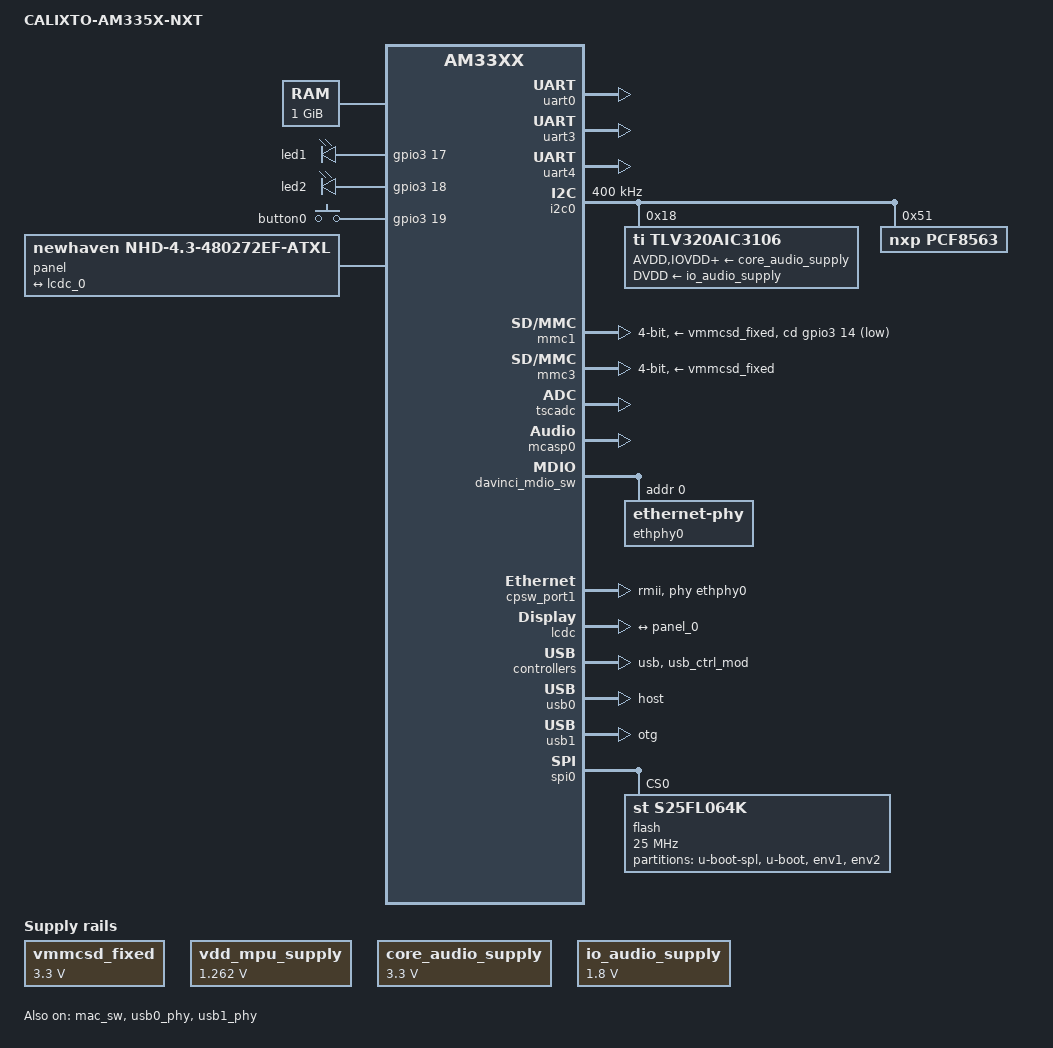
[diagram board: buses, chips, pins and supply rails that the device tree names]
/*
 * Copyright (C) 2023 Calixto Systems Pvt Ltd - https://www.calixtosystems.com/
 *
 * This program is free software; you can redistribute it and/or modify
 * it under the terms of the GNU General Public License version 2 as
 * published by the Free Software Foundation.
 */

/*
 * AM335x CALIXTO VERSA NXT SOM
 * https://www.calixtosystems.com/
 * Modified from am335x-evmsk
 * Modified by Vipin Vijayan <vipin.v@calixto.in>
 */

/dts-v1/;

#include "am33xx.dtsi"
#include <dt-bindings/pwm/pwm.h>
#include <dt-bindings/interrupt-controller/irq.h>

/ {
	model = "CALIXTO-AM335X-NXT";
	compatible = "ti,am335x-calixto-nxt", "ti,am33xx";

	cpus {
		cpu@0 {
			cpu0-supply = <&vdd_mpu_supply>;
		};
	};

	memory@80000000 {
		device_type = "memory";
		reg = <0x80000000 0x40000000>; /* 1024 MB */
	};
	
	aliases {
		serial0 = &uart0;
	};
	
	chosen {
		stdout-path = &uart0;
	};

	vmmcsd_fixed: fixedregulator1 {
                compatible = "regulator-fixed";
                regulator-name = "vmmcsd-regulator";
                regulator-min-microvolt = <3300000>;
                regulator-max-microvolt = <3300000>;
                enable-active-high;
                regulator-always-on;
        };

        vdd_mpu_supply: fixedregulator2 {
                compatible = "regulator-fixed";
                regulator-name = "vdd-mpu-regulator";
                regulator-min-microvolt = <1262000>;
                regulator-max-microvolt = <1262000>;
                regulator-boot-on;
                regulator-always-on;
        };

	core_audio_supply: fixedregulator-v3_3d  {
                compatible = "regulator-fixed";
                regulator-name = "v3_3d";
                regulator-min-microvolt = <3300000>;
                regulator-max-microvolt = <3300000>;
                regulator-boot-on;
        };

        io_audio_supply: fixedregulator-v1_8d  {
                compatible = "regulator-fixed";
                regulator-name = "v1_8d"; 
                regulator-min-microvolt = <1800000>;
                regulator-max-microvolt = <1800000>;
                regulator-boot-on;
        };

	leds {
		pinctrl-names = "default", "sleep";
		pinctrl-0 = <&user_leds_default>;
		pinctrl-1 = <&user_leds_sleep>;

		compatible = "gpio-leds";

		led1 {
			label = "led1";
			gpios = <&gpio3 17 GPIO_ACTIVE_HIGH>;
			linux,default-trigger = "heartbeat";
			default-state = "off";
		};

		led2 {
			label = "led2";
			gpios = <&gpio3 18 GPIO_ACTIVE_HIGH>;
			linux,default-trigger = "heartbeat";
			default-state = "off";
		};
	};
	
	
	gpio_buttons: gpio_buttons0 {
		compatible = "gpio-keys";
		pinctrl-names = "default";
		pinctrl-0 = <&gpio_keys_s0>;
		#address-cells = <1>;
		#size-cells = <0>;

		switch1 {
			label = "button0";
			linux,code = <0x100>;
			gpios = <&gpio3 19 GPIO_ACTIVE_HIGH>;
		};
	};
	
	panel {
		compatible = "newhaven,nhd-4.3-480272ef-atxl";

		pinctrl-names = "default", "sleep";
		pinctrl-0 = <&lcd_pins_default>;
		pinctrl-1 = <&lcd_pins_sleep>;
		port {
			panel_0: endpoint@0 {
				remote-endpoint = <&lcdc_0>;
			};
		};
	};
        
        sound {
		compatible = "simple-audio-card";
		simple-audio-card,name = "AM335x-EVM";
		simple-audio-card,widgets =
			"Headphone", "Headphone Jack",
			"Line", "Line In";
		simple-audio-card,routing =
			"Headphone Jack",	"HPLOUT",
			"Headphone Jack",	"HPROUT",
			"LINE1L",		"Line In",
			"LINE1R",		"Line In";
		simple-audio-card,format = "dsp_b";
		simple-audio-card,bitclock-master = <&sound_master>;
		simple-audio-card,frame-master = <&sound_master>;
		simple-audio-card,bitclock-inversion;

		simple-audio-card,cpu {
			sound-dai = <&mcasp0>;
		};

		sound_master: simple-audio-card,codec {
			sound-dai = <&tlv320aic3106>;
			system-clock-frequency = <12000000>;
		};
	};

};

&am33xx_pinmux {
	
	lcd_pins_default: lcd_pins_default {
                pinctrl-single,pins = <
                	AM33XX_PADCONF(AM335X_PIN_LCD_DATA0, PIN_OUTPUT, MUX_MODE0)
			AM33XX_PADCONF(AM335X_PIN_LCD_DATA1, PIN_OUTPUT, MUX_MODE0)
			AM33XX_PADCONF(AM335X_PIN_LCD_DATA2, PIN_OUTPUT, MUX_MODE0)
			AM33XX_PADCONF(AM335X_PIN_LCD_DATA3, PIN_OUTPUT, MUX_MODE0)
			AM33XX_PADCONF(AM335X_PIN_LCD_DATA4, PIN_OUTPUT, MUX_MODE0)
			AM33XX_PADCONF(AM335X_PIN_LCD_DATA5, PIN_OUTPUT, MUX_MODE0)
			AM33XX_PADCONF(AM335X_PIN_LCD_DATA6, PIN_OUTPUT, MUX_MODE0)
			AM33XX_PADCONF(AM335X_PIN_LCD_DATA7, PIN_OUTPUT, MUX_MODE0)
			AM33XX_PADCONF(AM335X_PIN_LCD_DATA8, PIN_OUTPUT, MUX_MODE0)
			AM33XX_PADCONF(AM335X_PIN_LCD_DATA9, PIN_OUTPUT, MUX_MODE0)
			AM33XX_PADCONF(AM335X_PIN_LCD_DATA10, PIN_OUTPUT, MUX_MODE0)
			AM33XX_PADCONF(AM335X_PIN_LCD_DATA11, PIN_OUTPUT, MUX_MODE0)
			AM33XX_PADCONF(AM335X_PIN_LCD_DATA12, PIN_OUTPUT, MUX_MODE0)
			AM33XX_PADCONF(AM335X_PIN_LCD_DATA13, PIN_OUTPUT, MUX_MODE0)
			AM33XX_PADCONF(AM335X_PIN_LCD_DATA14, PIN_OUTPUT, MUX_MODE0)
			AM33XX_PADCONF(AM335X_PIN_LCD_DATA15, PIN_OUTPUT, MUX_MODE0)
			AM33XX_PADCONF(AM335X_PIN_LCD_VSYNC, PIN_OUTPUT, MUX_MODE0)
			AM33XX_PADCONF(AM335X_PIN_LCD_HSYNC, PIN_OUTPUT, MUX_MODE0)
			AM33XX_PADCONF(AM335X_PIN_LCD_PCLK, PIN_OUTPUT, MUX_MODE0)
			AM33XX_PADCONF(AM335X_PIN_LCD_AC_BIAS_EN, PIN_OUTPUT, MUX_MODE0)
                >;
         };

	 lcd_pins_sleep: lcd_pins_sleep {
                pinctrl-single,pins = <
			AM33XX_PADCONF(AM335X_PIN_LCD_DATA0, PULL_DISABLE, MUX_MODE7)
			AM33XX_PADCONF(AM335X_PIN_LCD_DATA1, PULL_DISABLE, MUX_MODE7)
			AM33XX_PADCONF(AM335X_PIN_LCD_DATA2, PULL_DISABLE, MUX_MODE7)
			AM33XX_PADCONF(AM335X_PIN_LCD_DATA3, PULL_DISABLE, MUX_MODE7)
			AM33XX_PADCONF(AM335X_PIN_LCD_DATA4, PULL_DISABLE, MUX_MODE7)
			AM33XX_PADCONF(AM335X_PIN_LCD_DATA5, PULL_DISABLE, MUX_MODE7)
			AM33XX_PADCONF(AM335X_PIN_LCD_DATA6, PULL_DISABLE, MUX_MODE7)
			AM33XX_PADCONF(AM335X_PIN_LCD_DATA7, PULL_DISABLE, MUX_MODE7)
			AM33XX_PADCONF(AM335X_PIN_LCD_DATA8, PULL_DISABLE, MUX_MODE7)
			AM33XX_PADCONF(AM335X_PIN_LCD_DATA9, PULL_DISABLE, MUX_MODE7)
			AM33XX_PADCONF(AM335X_PIN_LCD_DATA10, PULL_DISABLE, MUX_MODE7)
			AM33XX_PADCONF(AM335X_PIN_LCD_DATA11, PULL_DISABLE, MUX_MODE7)
			AM33XX_PADCONF(AM335X_PIN_LCD_DATA12, PULL_DISABLE, MUX_MODE7)
			AM33XX_PADCONF(AM335X_PIN_LCD_DATA13, PULL_DISABLE, MUX_MODE7)
			AM33XX_PADCONF(AM335X_PIN_LCD_DATA14, PULL_DISABLE, MUX_MODE7)
			AM33XX_PADCONF(AM335X_PIN_LCD_DATA15, PULL_DISABLE, MUX_MODE7)
			AM33XX_PADCONF(AM335X_PIN_LCD_VSYNC, PIN_INPUT_PULLDOWN, MUX_MODE7)
			AM33XX_PADCONF(AM335X_PIN_LCD_HSYNC, PIN_INPUT_PULLDOWN, MUX_MODE7)
			AM33XX_PADCONF(AM335X_PIN_LCD_PCLK, PIN_INPUT_PULLDOWN, MUX_MODE7)
			AM33XX_PADCONF(AM335X_PIN_LCD_AC_BIAS_EN, PIN_INPUT_PULLDOWN, MUX_MODE7)
                >;
        };

	user_leds_default: user_leds_default {
		pinctrl-single,pins = <
			AM33XX_PADCONF(AM335X_PIN_MCASP0_AHCLKR, PIN_OUTPUT_PULLDOWN, MUX_MODE7 ) /* mcasp0_ahclkr.gpio3_17 */
			AM33XX_PADCONF(AM335X_PIN_MCASP0_ACLKR, PIN_OUTPUT_PULLDOWN, MUX_MODE7 )  /* mcasp0_aclkr.gpio3_18 */
		>;
	};

	user_leds_sleep: user_leds_sleep {
		pinctrl-single,pins = <
			AM33XX_PADCONF(AM335X_PIN_MCASP0_AHCLKR, PIN_INPUT_PULLDOWN, MUX_MODE7 ) /* mcasp0_ahclkr.gpio3_17 */
			AM33XX_PADCONF(AM335X_PIN_MCASP0_ACLKR, PIN_INPUT_PULLDOWN, MUX_MODE7 )  /* mcasp0_aclkr.gpio3_18 */
		>;
	};

	gpio_keys_s0: gpio_keys_s0 {
		pinctrl-single,pins = <
			AM33XX_PADCONF(AM335X_PIN_MCASP0_FSR, PIN_INPUT_PULLDOWN, MUX_MODE7 ) /* mcasp0_fsr.gpio3_19 */
		>;
	};

	uart0_pins: pinmux_uart0_pins {
		pinctrl-single,pins = <
			AM33XX_PADCONF(AM335X_PIN_UART0_RXD, PIN_INPUT_PULLUP, MUX_MODE0)	/* uart0_rxd.uart0_rxd */
			AM33XX_PADCONF(AM335X_PIN_UART0_TXD, PIN_OUTPUT_PULLDOWN, MUX_MODE0)	/* uart0_txd.uart0_txd */
		>;
	};
	
        i2c0_pins: pinmux_i2c0_pins {
               pinctrl-single,pins = <
                       AM33XX_PADCONF(AM335X_PIN_I2C0_SDA, PIN_INPUT_PULLUP, MUX_MODE0)    /* i2c0_sda.i2c0_sda */
                       AM33XX_PADCONF(AM335X_PIN_I2C0_SCL, PIN_INPUT_PULLUP, MUX_MODE0)    /* i2c0_scl.i2c0_scl */
               >;
        };

        uart4_pins: pinmux_uart4_pins {
               pinctrl-single,pins = <
                       AM33XX_PADCONF(AM335X_PIN_UART0_CTSN, PIN_INPUT_PULLUP, MUX_MODE1)     /* uart0_ctsn.uart4_rxd */
                       AM33XX_PADCONF(AM335X_PIN_UART0_RTSN, PIN_OUTPUT_PULLDOWN, MUX_MODE1)  /* uart0_rtsn.uart4_txd */
               >;
        };

        uart3_pins: pinmux_uart3_pins {
               pinctrl-single,pins = <
                       AM33XX_PADCONF(AM335X_PIN_SPI0_CS1, PIN_INPUT_PULLUP, MUX_MODE1)  /* spi0_cs1.uart3_rxd  */
                       AM33XX_PADCONF(AM335X_PIN_MII1_RXD2, PIN_OUTPUT_PULLDOWN, MUX_MODE1)  /* mii1_rxd2.uart3_txd */
               >;
        };

        mmc1_pins_default: pinmux_mmc1_pins {
                pinctrl-single,pins = <
                        AM33XX_PADCONF(AM335X_PIN_MMC0_DAT0, PIN_INPUT_PULLUP, MUX_MODE0)
			AM33XX_PADCONF(AM335X_PIN_MMC0_DAT1, PIN_INPUT_PULLUP, MUX_MODE0)
			AM33XX_PADCONF(AM335X_PIN_MMC0_DAT2, PIN_INPUT_PULLUP, MUX_MODE0)
			AM33XX_PADCONF(AM335X_PIN_MMC0_DAT3, PIN_INPUT_PULLUP, MUX_MODE0)
			AM33XX_PADCONF(AM335X_PIN_MMC0_CMD, PIN_INPUT_PULLUP, MUX_MODE0)
			AM33XX_PADCONF(AM335X_PIN_MMC0_CLK, PIN_INPUT_PULLUP, MUX_MODE0)
                        AM33XX_PADCONF(AM335X_PIN_MCASP0_ACLKX, PIN_INPUT, MUX_MODE7)           /* mcasp0_aclkx.gpio3_14 */
                >;
        };

	mmc1_pins_sleep: pinmux_mmc1_pins_sleep {
                pinctrl-single,pins = <
                        AM33XX_PADCONF(AM335X_PIN_MMC0_DAT0, PIN_INPUT_PULLDOWN, MUX_MODE7)
			AM33XX_PADCONF(AM335X_PIN_MMC0_DAT1, PIN_INPUT_PULLDOWN, MUX_MODE7)
			AM33XX_PADCONF(AM335X_PIN_MMC0_DAT2, PIN_INPUT_PULLDOWN, MUX_MODE7)
			AM33XX_PADCONF(AM335X_PIN_MMC0_DAT3, PIN_INPUT_PULLDOWN, MUX_MODE7)
			AM33XX_PADCONF(AM335X_PIN_MMC0_CMD, PIN_INPUT_PULLDOWN, MUX_MODE7)
			AM33XX_PADCONF(AM335X_PIN_MMC0_CLK, PIN_INPUT_PULLDOWN, MUX_MODE7)
                        AM33XX_PADCONF(AM335X_PIN_MCASP0_ACLKX, PIN_INPUT, MUX_MODE7)           /* mcasp0_aclkx.gpio3_14 */
                >;
        };

	emmc_pins: pinmux_emmc_pins {
		pinctrl-single,pins = <
			AM33XX_PADCONF(AM335X_PIN_GPMC_CLK, PIN_INPUT_PULLUP, MUX_MODE3) /* gpmc_clk.mmc2_clk */
			AM33XX_PADCONF(AM335X_PIN_GPMC_CSN3,  PIN_INPUT_PULLUP, MUX_MODE3) /* gpmc_csn3.mmc2_cmd */
			AM33XX_PADCONF(AM335X_PIN_GPMC_AD12,  PIN_INPUT_PULLUP, MUX_MODE3) /* gpmc_ad12.mmc2_dat0 */
			AM33XX_PADCONF(AM335X_PIN_GPMC_AD13,  PIN_INPUT_PULLUP, MUX_MODE3) /* gpmc_ad13.mmc2_dat1 */
			AM33XX_PADCONF(AM335X_PIN_GPMC_AD14,  PIN_INPUT_PULLUP, MUX_MODE3) /* gpmc_ad14.mmc2_dat2 */
			AM33XX_PADCONF(AM335X_PIN_GPMC_AD15,  PIN_INPUT_PULLUP, MUX_MODE3) /* gpmc_ad15.mmc2_dat3 */
		>;
	};

	cpsw_default: cpsw_default {
		pinctrl-single,pins = <
			/* Slave 1 */
			AM33XX_PADCONF(AM335X_PIN_MII1_CRS, PIN_INPUT_PULLDOWN, MUX_MODE1)      /* mii1_crs.rmii1_crs_dv */
			AM33XX_PADCONF(AM335X_PIN_MII1_RX_ER, PIN_INPUT_PULLDOWN, MUX_MODE1)    /* mii1_rxerr.mii1_rxerr */
			AM33XX_PADCONF(AM335X_PIN_MII1_TX_EN, PIN_OUTPUT_PULLDOWN, MUX_MODE1)    /* mii1_txen.mii1_txen   */
			AM33XX_PADCONF(AM335X_PIN_MII1_TXD1, PIN_OUTPUT_PULLDOWN, MUX_MODE1)    /* mii1_txd1.mii1_txd1   */
			AM33XX_PADCONF(AM335X_PIN_MII1_TXD0, PIN_OUTPUT_PULLDOWN, MUX_MODE1)    /* mii1_txd0.mii1_txd0   */
			AM33XX_PADCONF(AM335X_PIN_MII1_RXD1, PIN_INPUT_PULLDOWN, MUX_MODE1)     /* mii1_rxd1.mii1_rxd2   */
			AM33XX_PADCONF(AM335X_PIN_MII1_RXD0, PIN_INPUT_PULLDOWN, MUX_MODE1)     /* mii1_rxd0.mii1_rxd0   */
			AM33XX_PADCONF(AM335X_PIN_RMII1_REF_CLK, PIN_INPUT_PULLDOWN, MUX_MODE0)  /* rmii1_refclk.rmii1_refclk */
		>;
	};

	cpsw_sleep: cpsw_sleep {
		pinctrl-single,pins = <
			/* Slave 1 reset value */
			AM33XX_PADCONF(AM335X_PIN_MII1_CRS, PIN_INPUT_PULLDOWN, MUX_MODE7)
			AM33XX_PADCONF(AM335X_PIN_MII1_RX_ER, PIN_INPUT_PULLDOWN, MUX_MODE7)
			AM33XX_PADCONF(AM335X_PIN_MII1_TX_EN, PIN_INPUT_PULLDOWN, MUX_MODE7)
			AM33XX_PADCONF(AM335X_PIN_MII1_TXD1, PIN_INPUT_PULLDOWN, MUX_MODE7)
			AM33XX_PADCONF(AM335X_PIN_MII1_TXD0, PIN_INPUT_PULLDOWN, MUX_MODE7)
			AM33XX_PADCONF(AM335X_PIN_MII1_RXD1, PIN_INPUT_PULLDOWN, MUX_MODE7)
			AM33XX_PADCONF(AM335X_PIN_MII1_RXD0, PIN_INPUT_PULLDOWN, MUX_MODE7)
			AM33XX_PADCONF(AM335X_PIN_RMII1_REF_CLK, PIN_INPUT_PULLDOWN, MUX_MODE7)
		>;
	};

	davinci_mdio_default: davinci_mdio_default {
		pinctrl-single,pins = <
			/* MDIO */
			AM33XX_PADCONF(AM335X_PIN_MDIO, PIN_INPUT_PULLUP | SLEWCTRL_FAST, MUX_MODE0)
			AM33XX_PADCONF(AM335X_PIN_MDC, PIN_OUTPUT_PULLUP, MUX_MODE0)
		>;
	};

	davinci_mdio_sleep: davinci_mdio_sleep {
		pinctrl-single,pins = <
			/* MDIO reset value */
			AM33XX_PADCONF(AM335X_PIN_MDIO, PIN_INPUT_PULLDOWN, MUX_MODE7)
			AM33XX_PADCONF(AM335X_PIN_MDC, PIN_INPUT_PULLDOWN, MUX_MODE7)
		>;
	};




	mcasp0_pins: mcasp0_pins {
                pinctrl-single,pins = <
                        AM33XX_PADCONF(AM335X_PIN_MII1_TX_CLK,  PIN_INPUT_PULLDOWN, MUX_MODE6)    /* mii1_txclk.mcasp0_aclkx */
                        AM33XX_PADCONF(AM335X_PIN_MCASP0_FSX,  PIN_INPUT_PULLDOWN, MUX_MODE0)  /* mcasp0_fsx.mcasp0_fsx   */
                        AM33XX_PADCONF(AM335X_PIN_MII1_RXD3,  PIN_OUTPUT_PULLDOWN, MUX_MODE6)   /* mii1_rxd3.mcasp0_axr0   */
                        AM33XX_PADCONF(AM335X_PIN_MCASP0_AXR1,  PIN_INPUT_PULLDOWN, MUX_MODE0) /* mcasp0_axr1.mcasp0_axr1 */
                >;
        };

        mcasp0_sleep_pins: mcasp0_sleep_pins {
                pinctrl-single,pins = <
                        AM33XX_PADCONF(AM335X_PIN_MII1_TX_CLK, PIN_INPUT_PULLDOWN, MUX_MODE7)
                        AM33XX_PADCONF(AM335X_PIN_MCASP0_FSX, PIN_INPUT_PULLDOWN, MUX_MODE7)
                        AM33XX_PADCONF(AM335X_PIN_MII1_RXD3, PIN_INPUT_PULLDOWN, MUX_MODE7)
                        AM33XX_PADCONF(AM335X_PIN_MCASP0_AXR1, PIN_INPUT_PULLDOWN, MUX_MODE7)
                >;
        };

	spi0_pins: pinmux_spi0_pins {
		pinctrl-single,pins = <
			AM33XX_PADCONF(AM335X_PIN_SPI0_SCLK, PIN_INPUT_PULLUP, MUX_MODE0 ) /* (A17) spi0_sclk.spi0_sclk */
			AM33XX_PADCONF(AM335X_PIN_SPI0_D0, PIN_INPUT_PULLUP, MUX_MODE0 )   /* (B17) spi0_d0.spi0_d0 */
			AM33XX_PADCONF(AM335X_PIN_SPI0_D1, PIN_OUTPUT_PULLUP, MUX_MODE0 )  /* (B16) spi0_d1.spi0_d1 */
			AM33XX_PADCONF(AM335X_PIN_SPI0_CS0, PIN_OUTPUT_PULLUP, MUX_MODE0 ) /* (A16) spi0_cs0.spi0_cs0 */
		>;
	};

};

&uart0 {
	pinctrl-names = "default";
	pinctrl-0 = <&uart0_pins>;
	status = "okay";
};

&uart3 {
        pinctrl-names = "default";
        pinctrl-0 = <&uart3_pins>;
        status = "okay";
};

&uart4 {
        pinctrl-names = "default";
        pinctrl-0 = <&uart4_pins>;
        status = "okay";
};

&i2c0 {
        pinctrl-names = "default";
        pinctrl-0 = <&i2c0_pins>;
        
        status = "okay";
        clock-frequency = <400000>;
	
	  tlv320aic3106: tlv320aic3106@18 {
	  	#sound-dai-cells = <0>;
             	compatible = "ti,tlv320aic3106";
             	reg = <0x18>;
             	ai3x-micbias-vg = <1>;
             	status = "okay";

             	/* Regulators */
             	AVDD-supply  = <&core_audio_supply>;
            	IOVDD-supply = <&core_audio_supply>;
             	DRVDD-supply = <&core_audio_supply>;
             	DVDD-supply  = <&io_audio_supply>;
	  };
	
	  pcf8563: pcf8563@51 {
          	compatible = "nxp,pcf8563";
             	reg = <0x51>;
          };
};

&mmc1 {
	status = "okay";
	vmmc-supply = <&vmmcsd_fixed>;
	bus-width = <4>;
	pinctrl-names = "default", "sleep";
	pinctrl-0 = <&mmc1_pins_default>;
	pinctrl-1 = <&mmc1_pins_sleep>;
	cd-gpios = <&gpio3 14 GPIO_ACTIVE_LOW>;
};

&mmc3 {
	status = "okay";
	pinctrl-names = "default";
	pinctrl-0 = <&emmc_pins>;
        vmmc-supply = <&vmmcsd_fixed>;
	bus-width = <4>;
	ti,non-removable;
	dmas = <&edma_xbar 12 0 1
                &edma_xbar 13 0 2>;
        dma-names = "tx", "rx";
};

&tscadc {
        status = "okay";
        tsc {
                ti,wires = <4>;
                ti,x-plate-resistance = <200>;
                ti,coordinate-readouts = <5>;
                ti,wire-config = <0x00 0x11 0x22 0x33>;
        };
        adc {
                ti,adc-channels = <4 5 6 7>;
        };
};

&mcasp0 {
	  #sound-dai-cells = <0>;
          pinctrl-names = "default", "sleep";
          pinctrl-0 = <&mcasp0_pins>;
          pinctrl-1 = <&mcasp0_sleep_pins>;

          status = "okay";

          op-mode = <0>;          /* MCASP_IIS_MODE */
          tdm-slots = <2>;
          /* 16 serializer */
          serial-dir = <  /* 0: INACTIVE, 1: TX, 2: RX */
                 1 2 0 0
          >;
          tx-num-evt = <32>;
          rx-num-evt = <32>;
};

&mac_sw {
	slaves = <1>;
	pinctrl-names = "default", "sleep";
	pinctrl-0 = <&cpsw_default>;
	pinctrl-1 = <&cpsw_sleep>;
	status = "okay";
};

&davinci_mdio_sw {
	pinctrl-names = "default", "sleep";
	pinctrl-0 = <&davinci_mdio_default>;
	pinctrl-1 = <&davinci_mdio_sleep>;
	
	ethphy0: ethernet-phy@0 {
		reg = <0>;
	};
};

&cpsw_port1 {
	phy-handle = <&ethphy0>;
	phy-mode = "rmii";
	ti,dual-emac-pvid = <1>;
};

&cpsw_port2 {
	status = "disabled";
};


/*&phy_sel {
	rmii-clock-ext;
};*/

&rtc {
	clocks = <&clk_32768_ck>, <&clk_24mhz_clkctrl AM3_CLK_24MHZ_CLKDIV32K_CLKCTRL 0>;
	clock-names = "ext-clk", "int-clk";
};

&lcdc {
      	status = "okay";
      
	blue-and-red-wiring = "crossed";

	port {
		lcdc_0: endpoint@0 {
			remote-endpoint = <&panel_0>;
		};
	};
};

&usb {
      status = "okay";
};

&usb_ctrl_mod {
      status = "okay";
};

&usb0_phy {
     status = "okay";
};

&usb1_phy {
     status = "okay";
};

&usb0 {
     status = "okay";
     dr_mode = "host";
};

&usb1 {
     status = "okay";
     dr_mode = "otg";
};

&cppi41dma  {
     status = "okay";
};

/*
 * SPI Flash (1MiB)
 * 0x000000 - 0x01FFFF : SPL (128KiB)
 * 0x020000 - 0x09FFFF : U-Boot (512KiB)
 * 0x0A0000 - 0x0BFFFF : First copy of U-Boot Environment (128KiB)
 * 0x0C0000 - 0x0DFFFF : Second copy of U-Boot Environment (128KiB)
 */
&spi0 {
	pinctrl-names = "default";
	pinctrl-0 = <&spi0_pins>;
	status = "okay";

	flash: s25fl064k@0 {
		 #address-cells = <1>;
		 #size-cells = <1>;
		 compatible = "st,s25fl064k";
		 spi-max-frequency = <25000000>;
		 reg = <0>;


		 partition@0 {
			 label = "u-boot-spl";
			 reg = <0x000000 0x020000>;
		 };


		 partition@1 {
			 label = "u-boot";
			 reg = <0x020000 0x080000>;
		 };

		 partition@2 {
			 label = "env1";
			 reg = <0x0A0000 0x010000>;
		 };

		 partition@3 {
			 label = "env2";
			 reg = <0x0B0000 0x010000>;
		 };

	};
};

&wkup_m3_ipc {
	firmware-name = "am335x-evm-scale-data.bin";
};
